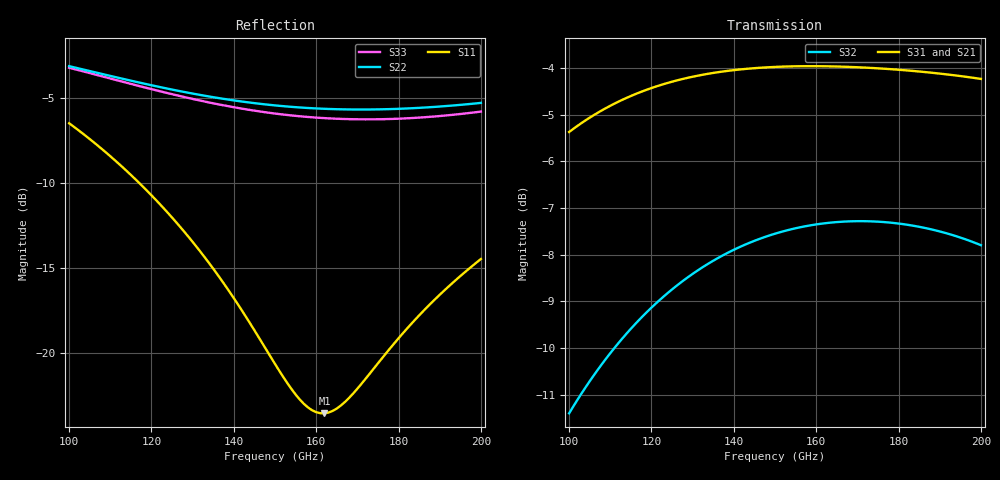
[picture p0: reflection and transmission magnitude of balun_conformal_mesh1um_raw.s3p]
#  GHZ S DB R 50.0
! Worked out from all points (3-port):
!   101 points, 100 GHz to 200 GHz, reference 50 ohm
!   strongest paths, dB at 100 GHz, 125 GHz, 150 GHz, 175 GHz, 200 GHz:
!     S31: -5.4, -4.3, -4.0, -4.0, -4.2
!     S21: -5.3, -4.3, -4.0, -4.0, -4.3
!     S32: -11.4, -8.7, -7.6, -7.3, -7.8
!   lowest |S11| = -23.5 dB at 162 GHz (marker M1), VSWR 1.14, Z = 56.4 - j3.06 ohm
!   |S11| at or under -10 dB: 117.1 GHz to end of sweep
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100  -6.48 133.3  -5.32 -3.3  -5.37 174.5
     -5.32 -3.3  -3.13 61.8  -11.40 94.2
     -5.37 174.5  -11.40 94.2  -3.22 54.0
112  -8.84 112.6  -4.69 -21.3  -4.72 155.8
     -4.69 -21.3  -3.81 50.5  -9.89 77.6
     -4.72 155.8  -9.89 77.6  -3.98 41.7
124  -11.75 92.1  -4.30 -38.3  -4.32 138.1
     -4.30 -38.3  -4.45 40.4  -8.82 61.6
     -4.32 138.1  -8.82 61.6  -4.71 30.8
137  -15.70 67.7  -4.08 -55.6  -4.08 120.1
     -4.08 -55.6  -5.03 30.6  -8.03 45.2
     -4.08 120.1  -8.03 45.2  -5.40 20.2
150  -20.61 32.7  -3.99 -71.9  -3.98 103.0
     -3.99 -71.9  -5.43 21.6  -7.55 29.5
     -3.98 103.0  -7.55 29.5  -5.91 10.7
157  -22.96 2.5  -3.98 -80.4  -3.96 94.1
     -3.98 -80.4  -5.57 16.8  -7.40 21.3
     -3.96 94.1  -7.40 21.3  -6.09 5.8
162  -23.52 -23.9  -3.98 -86.4  -3.96 87.8
     -3.98 -86.4  -5.63 13.4  -7.33 15.5
     -3.96 87.8  -7.33 15.5  -6.18 2.3
168  -22.61 -52.8  -4.00 -93.5  -3.98 80.4
     -4.00 -93.5  -5.67 9.3  -7.29 8.6
     -3.98 80.4  -7.29 8.6  -6.24 -1.8
180  -19.11 -89.0  -4.07 -107.4  -4.04 65.8
     -4.07 -107.4  -5.63 1.0  -7.33 -5.1
     -4.04 65.8  -7.33 -5.1  -6.21 -10.3
200  -14.45 -119.4  -4.27 -130.6  -4.23 41.4
     -4.27 -130.6  -5.29 -14.2  -7.80 -28.1
     -4.23 41.4  -7.80 -28.1  -5.80 -25.8
